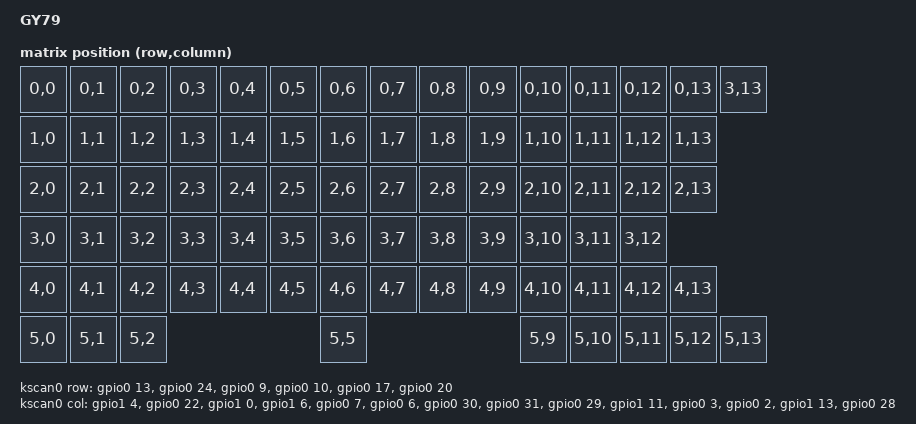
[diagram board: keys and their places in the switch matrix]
/*
* Copyright (c) 2021 Polarity Works
*
* SPDX-License-Identifier: MIT
*/

/dts-v1/;
#include <nordic/nrf52840_qiaa.dtsi>
#include <dt-bindings/led/led.h>
#include <dt-bindings/zmk/matrix_transform.h>
#include <physical_layouts.dtsi>
#include "pinctrl.dtsi"

/ {
	model = "GY79";
	compatible = "polarityworks,gy79";

	chosen {
		zephyr,code-partition = &code_partition;
		zephyr,sram = &sram0;
		zephyr,flash = &flash0;
		zmk,kscan = &kscan0;
		zmk,underglow = &led_strip;
		zmk,battery = &vbatt;
		zmk,physical-layout = &physical_layout_0;
	};


	kscan0: kscan_0 {
		compatible = "zmk,kscan-gpio-matrix";
		diode-direction = "col2row";


		col-gpios
			= <&gpio1 4 GPIO_ACTIVE_HIGH>
			, <&gpio0 22 GPIO_ACTIVE_HIGH>
			, <&gpio1 0 GPIO_ACTIVE_HIGH>
			, <&gpio1 6 GPIO_ACTIVE_HIGH>
			, <&gpio0 7 GPIO_ACTIVE_HIGH>
			, <&gpio0 6 GPIO_ACTIVE_HIGH>
			, <&gpio0 30 GPIO_ACTIVE_HIGH>
			, <&gpio0 31 GPIO_ACTIVE_HIGH>
			, <&gpio0 29 GPIO_ACTIVE_HIGH>
			, <&gpio1 11 GPIO_ACTIVE_HIGH>
			, <&gpio0 3 GPIO_ACTIVE_HIGH>
			, <&gpio0 2 GPIO_ACTIVE_HIGH>
			, <&gpio1 13 GPIO_ACTIVE_HIGH>
			, <&gpio0 28 GPIO_ACTIVE_HIGH>
			;

		row-gpios
			= <&gpio0 13 (GPIO_ACTIVE_HIGH | GPIO_PULL_DOWN)>
			, <&gpio0 24 (GPIO_ACTIVE_HIGH | GPIO_PULL_DOWN)>
			, <&gpio0  9 (GPIO_ACTIVE_HIGH | GPIO_PULL_DOWN)>
			, <&gpio0 10 (GPIO_ACTIVE_HIGH | GPIO_PULL_DOWN)>
			, <&gpio0 17 (GPIO_ACTIVE_HIGH | GPIO_PULL_DOWN)>
			, <&gpio0 20 (GPIO_ACTIVE_HIGH | GPIO_PULL_DOWN)>
			;
	};

	ext-power {
		compatible = "zmk,ext-power-generic";
		control-gpios = <&gpio1 19 GPIO_ACTIVE_HIGH>;
		init-delay-ms = <50>;
	};


	leds {
		compatible = "gpio-leds";
		blue_led: led_0 {
			gpios = <&gpio1 10 GPIO_ACTIVE_HIGH>;
			label = "Blue LED";
		};
	};

	vbatt: vbatt {
		compatible = "zmk,battery-voltage-divider";
		io-channels = <&adc 2>;
		output-ohms = <100000>;
		full-ohms = <(2000000 + 820000)>;
	};

	layout_grid_transform:
    keymap_transform_0 {
        compatible = "zmk,matrix-transform";
        columns = <14>;
        rows = <6>;
        map = <
            RC(0,0) RC(0,1) RC(0,2) RC(0,3) RC(0,4) RC(0,5) RC(0,6) RC(0,7) RC(0,8) RC(0,9) RC(0,10) RC(0,11) RC(0,12) RC(0,13) RC(3,13) 
            RC(1,0) RC(1,1) RC(1,2) RC(1,3) RC(1,4) RC(1,5) RC(1,6) RC(1,7) RC(1,8) RC(1,9) RC(1,10) RC(1,11) RC(1,12) RC(1,13)
            RC(2,0) RC(2,1) RC(2,2) RC(2,3) RC(2,4) RC(2,5) RC(2,6) RC(2,7) RC(2,8) RC(2,9) RC(2,10) RC(2,11) RC(2,12) RC(2,13) 
            RC(3,0) RC(3,1) RC(3,2) RC(3,3) RC(3,4) RC(3,5) RC(3,6) RC(3,7) RC(3,8) RC(3,9) RC(3,10) RC(3,11) RC(3,12) 
            RC(4,0) RC(4,1) RC(4,2) RC(4,3) RC(4,4) RC(4,5) RC(4,6) RC(4,7) RC(4,8) RC(4,9) RC(4,10) RC(4,11) RC(4,12) RC(4,13) 
            RC(5,0) RC(5,1) RC(5,2)                         RC(5,5)                         RC(5,9) RC(5,10) RC(5,11) RC(5,12) RC(5,13)     
            >;

    };
	physical_layout_0: physical_layout_0 {
        compatible = "zmk,physical-layout";
        display-name = "Default";
        transform = <&layout_grid_transform>;

        keys  //                     w   h    x    y     rot    rx    ry
            = <&key_physical_attrs 125 100    0   25       0     0     0>
            , <&key_physical_attrs 100 100  125   25       0     0     0>
            , <&key_physical_attrs 100 100  225    0       0     0     0>
            , <&key_physical_attrs 100 100  325    0       0     0     0>
            , <&key_physical_attrs 100 100  425    0       0     0     0>
            , <&key_physical_attrs 100 100  525    0       0     0     0>
            , <&key_physical_attrs 100 100  625    0       0     0     0>
            , <&key_physical_attrs 100 100 1075    0       0     0     0>
            , <&key_physical_attrs 100 100 1175    0       0     0     0>
            , <&key_physical_attrs 100 100 1275    0       0     0     0>
            , <&key_physical_attrs 100 100 1375    0       0     0     0>
            , <&key_physical_attrs 100 100 1475    0       0     0     0>
            , <&key_physical_attrs 100 100 1575   25       0     0     0>
            , <&key_physical_attrs 125 100 1675   25       0     0     0>
            , <&key_physical_attrs 125 100    0  125       0     0     0>
            , <&key_physical_attrs 100 100  125  125       0     0     0>
            , <&key_physical_attrs 100 100  225  100       0     0     0>
            , <&key_physical_attrs 100 100  325  100       0     0     0>
            , <&key_physical_attrs 100 100  425  100       0     0     0>
            , <&key_physical_attrs 100 100  525  100       0     0     0>
            , <&key_physical_attrs 100 100  625  100       0     0     0>
            , <&key_physical_attrs 100 100 1075  100       0     0     0>
            , <&key_physical_attrs 100 100 1175  100       0     0     0>
            , <&key_physical_attrs 100 100 1275  100       0     0     0>
            , <&key_physical_attrs 100 100 1375  100       0     0     0>
            , <&key_physical_attrs 100 100 1475  100       0     0     0>
            , <&key_physical_attrs 100 100 1575  125       0     0     0>
            , <&key_physical_attrs 125 100 1675  125       0     0     0>
            , <&key_physical_attrs 125 100    0  225       0     0     0>
            , <&key_physical_attrs 100 100  125  225       0     0     0>
            , <&key_physical_attrs 100 100  225  200       0     0     0>
            , <&key_physical_attrs 100 100  325  200       0     0     0>
            , <&key_physical_attrs 100 100  425  200       0     0     0>
            , <&key_physical_attrs 100 100  525  200       0     0     0>
            , <&key_physical_attrs 100 100  625  200       0     0     0>
            , <&key_physical_attrs 100 100  675  400	   0     0     0>
            , <&key_physical_attrs 100 100  775  400       0     0     0>
            , <&key_physical_attrs 100 100  925  400	   0     0     0>
            , <&key_physical_attrs 100 100 1025  400       0     0     0>
            , <&key_physical_attrs 100 100 1075  200       0     0     0>
            , <&key_physical_attrs 100 100 1175  200       0     0     0>
            , <&key_physical_attrs 100 100 1275  200       0     0     0>
            , <&key_physical_attrs 100 100 1375  200       0     0     0>
            , <&key_physical_attrs 100 100 1475  200       0     0     0>
            , <&key_physical_attrs 100 100 1575  225       0     0     0>
            , <&key_physical_attrs 125 100 1675  225       0     0     0>
            , <&key_physical_attrs 125 100    0  325       0     0     0>
            , <&key_physical_attrs 100 100  125  325       0     0     0>
            , <&key_physical_attrs 100 100  225  300       0     0     0>
            , <&key_physical_attrs 100 100  325  300       0     0     0>
            , <&key_physical_attrs 100 100  425  300       0     0     0>
            , <&key_physical_attrs 100 100  525  300       0     0     0>
            , <&key_physical_attrs 100 100  775  500       0     0     0>
            , <&key_physical_attrs 100 100  925  500       0     0     0>
            , <&key_physical_attrs 100 100 1175  300       0     0     0>
            , <&key_physical_attrs 100 100 1275  300       0     0     0>
            , <&key_physical_attrs 100 100 1375  300       0     0     0>
            , <&key_physical_attrs 100 100 1475  300       0     0     0>
            , <&key_physical_attrs 100 100 1575  325       0     0     0>
            , <&key_physical_attrs 125 100 1675  325       0     0     0>
            , <&key_physical_attrs 125 100    0  425       0     0     0>
            , <&key_physical_attrs 100 100  125  425       0     0     0>
            , <&key_physical_attrs 100 100  225  400       0     0     0>
            , <&key_physical_attrs 100 100  325  400       0     0     0>
            , <&key_physical_attrs 100 100  425  400       0     0     0>
            , <&key_physical_attrs 100 200  575  500       0     0     0>
            , <&key_physical_attrs 100 200  675  500       0     0     0>
            , <&key_physical_attrs 100 100  775  600       0     0     0>
            , <&key_physical_attrs 100 100  925  600       0     0     0>
            , <&key_physical_attrs 100 200 1025  500       0     0     0>
            , <&key_physical_attrs 100 200 1125  500       0     0     0>
            , <&key_physical_attrs 100 100 1275  400       0     0     0>
            , <&key_physical_attrs 100 100 1375  400       0     0     0>
            , <&key_physical_attrs 100 100 1475  400       0     0     0>
            , <&key_physical_attrs 100 100 1575  425       0     0     0>
            , <&key_physical_attrs 125 100 1675  425       0     0     0>
            ;
    };

};

&adc {
	status = "okay";
};

&gpiote {
	status = "okay";
};

&gpio0 {
	status = "okay";
};

&gpio1 {
	status = "okay";
};

zephyr_udc0: &usbd {
	status = "okay";
};


&flash0 {
	/*
	 * For more information, see:
	 * http://docs.zephyrproject.org/latest/devices/dts/flash_partitions.html
	 */
	partitions {
		compatible = "fixed-partitions";
		#address-cells = <1>;
		#size-cells = <1>;

		sd_partition: partition@0 {
			label = "softdevice";
			reg = <0x00000000 0x00026000>;
		};
		code_partition: partition@26000 {
			label = "code_partition";
			reg = <0x00026000 0x000c6000>;
		};

		/*
		 * The flash starting at 0x000ec000 and ending at
		 * 0x000f3fff is reserved for use by the application.
		 */

		/*
		 * Storage partition will be used by FCB/LittleFS/NVS
		 * if enabled.
		 */
		storage_partition: partition@ec000 {
			label = "storage";
			reg = <0x000ec000 0x00008000>;
		};

		boot_partition: partition@f4000 {
			label = "adafruit_boot";
			reg = <0x000f4000 0x0000c000>;
		};
	};
};

&spi3 {
	compatible = "nordic,nrf-spim";
	status = "okay";
	pinctrl-0 = <&spi3_default>;
	pinctrl-1 = <&spi3_sleep>;
	pinctrl-names = "default", "sleep";

	led_strip: ws2812@0 {
		compatible = "worldsemi,ws2812-spi";

		/* SPI */
		reg = <0>;
		spi-max-frequency = <4000000>;

		/* WS2812 */
		chain-length = <79>; /* number of LEDs */
		spi-one-frame = <0x70>;
		spi-zero-frame = <0x40>;
		color-mapping = <LED_COLOR_ID_GREEN
                   LED_COLOR_ID_RED
                   LED_COLOR_ID_BLUE>;
	};

};



